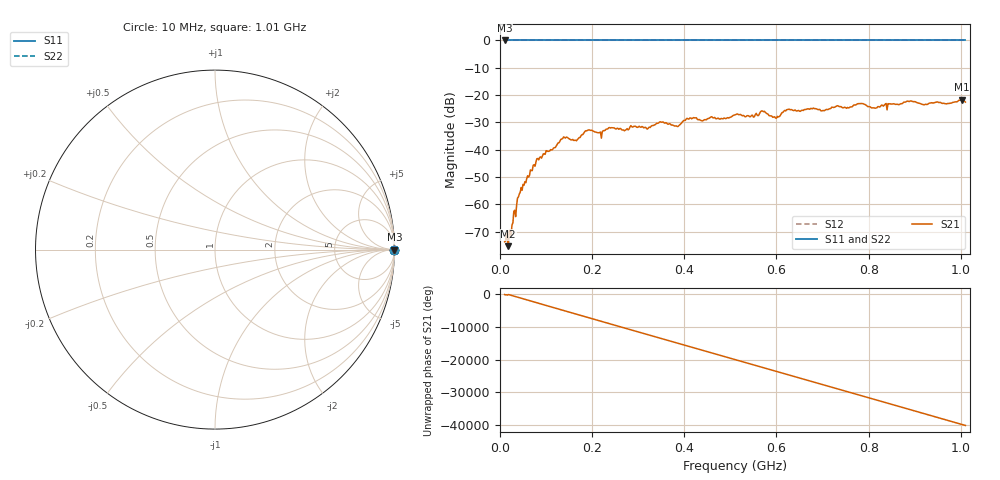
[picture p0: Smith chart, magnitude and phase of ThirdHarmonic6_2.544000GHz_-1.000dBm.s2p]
! 8/17/2025 5:09:32 AM
! C:\ANRITSUVNA\TEMP\TEMP.S2P
! CHANNEL.1
! TR.MEASUREMENT
! RAW.DATA
! RF.CORRECTION.OFF
! AVERAGING.OFF
! IF.BANDWIDTH: 5KHZ
! SWEEPTYPE:  FREQ.SWEEP(Linear)
! Reference Plane Port Info
! PORT:  PORT1  PORT2
! DISTANCE:  0  m  0  m
! TIME:  0  s  0  s
! PHASE.OFFSET:  0  deg.  0  deg.
! LOSS:  0  dB  0  dB
! REF.LOSS:  0  dB  0  dB
! REF.FREQ:  0  Hz  0  Hz
! Power Info
! POWER:  -20  dBm  -20  dBm
! EFF.POWER:  -20  dBm  -20  dBm
! SOURCE.ATTEN:  0  dB  0  dB
! TEST.ATTEN:  0  dB  0  dB
# GHZ S RI R 50.0
! FREQ.GHZ  S11RE  S11IM  S21RE  S21IM  S12RE  S12IM  S22RE  S22IM
!; PortSelection: Port_12
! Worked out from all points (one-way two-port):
!   501 points, 10 MHz to 1.01 GHz, reference 50 ohm
!   highest |S21| = -21.66 dB at 1.002 GHz (marker M1); lowest = -75.3 dB at 18 MHz (marker M2)
!   lowest |S11| = 0.0 dB at 10 MHz (marker M3)
!   |S11| at or under -10 dB: nowhere
!   |S22| runs from 0.0 to 0.0 dB; largest |S21 - S12| = 1.1
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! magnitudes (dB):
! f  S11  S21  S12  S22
! 10 MHz  0.0  -73.7  0.0  0.0
! 18 MHz  0.0  -75.3  0.0  0.0
! 22 MHz  0.0  -69.4  0.0  0.0
! 42 MHz  0.0  -56.1  0.0  0.0
! 82 MHz  0.0  -43.2  0.0  0.0
! 136 MHz  0.0  -35.9  0.0  0.0
! 164 MHz  0.0  -36.5  0.0  0.0
! 178 MHz  0.0  -34.5  0.0  0.0
! 190 MHz  0.0  -32.9  0.0  0.0
! 216 MHz  0.0  -33.7  0.0  0.0
! 240 MHz  0.0  -32.0  0.0  0.0
! 344 MHz  0.0  -30.2  0.0  0.0
! 384 MHz  0.0  -31.4  0.0  0.0
! 410 MHz  0.0  -28.8  0.0  0.0
! 510 MHz  0.0  -27.2  0.0  0.0
! 570 MHz  0.0  -25.8  0.0  0.0
! 596 MHz  0.0  -27.9  0.0  0.0
! 626 MHz  0.0  -25.2  0.0  0.0
! 678 MHz  0.0  -25.0  0.0  0.0
! 844 MHz  0.0  -23.2  0.0  0.0
! 1.002 GHz  0.0  -21.7  0.0  0.0
! 1.01 GHz  0.0  -22.5  0.0  0.0
